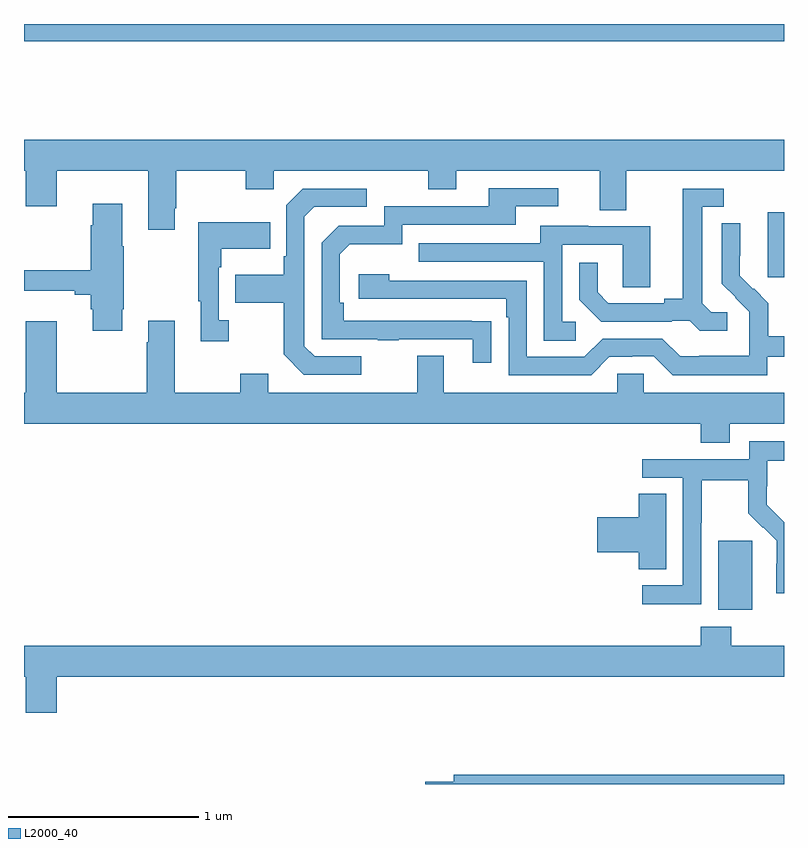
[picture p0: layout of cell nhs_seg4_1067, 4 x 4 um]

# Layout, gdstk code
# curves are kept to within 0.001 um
import gdstk
lib = gdstk.Library(unit=1e-6, precision=1e-09)
def R(c, l, rs):  # rectangles x0, y0, x1, y1
    for r in rs: c.add(gdstk.rectangle(r[:2], r[2:], *l))
def P(c, l, *ps):  # polygons
    for p in ps: c.add(gdstk.Polygon(p, *l))
L2000_40 = (2000, 40)

nhs_seg4_1067 = lib.new_cell('nhs_seg4_1067')
R(nhs_seg4_1067, L2000_40, [(168.653,819.818,168.832,820.179), (168.914,821.568,169,821.908), (165,822.808,169,822.9)])
P(nhs_seg4_1067, L2000_40, [(165.793,821.929),(165.801,821.929),(165.801,822.128),(166.168,822.128),(166.168,822.029),(166.314,822.029),(166.314,822.128),(167.128,822.128),(167.128,822.029),(167.275,822.029),(167.275,822.128),(168.029,822.128),(168.029,821.92),(168.169,821.92),(168.169,822.128),(169,822.128),(169,822.292),(165,822.292),(165,822.128),(165.008,822.128),(165.008,821.94),(165.172,821.94),(165.172,822.128),(165.653,822.128),(165.653,821.817),(165.793,821.817)],
  [(167.459,821.336),(166.682,821.337),(166.682,821.434),(166.662,821.434),(166.662,821.688),(166.715,821.741),(166.992,821.741),(166.992,821.844),(167.587,821.844),(167.587,821.94),(167.812,821.94),(167.812,822.036),(167.447,822.036),(167.447,821.94),(166.896,821.94),(166.896,821.838),(166.656,821.838),(166.566,821.748),(166.566,821.241),(166.861,821.241),(166.861,821.236),(166.973,821.236),(166.973,821.241),(167.363,821.241),(167.363,821.118),(167.459,821.118)],
  [(166.774,821.151),(166.53,821.151),(166.476,821.205),(166.476,821.886),(166.527,821.937),(166.804,821.937),(166.804,822.033),(166.467,822.033),(166.38,821.946),(166.38,821.677),(166.368,821.677),(166.368,821.581),(166.111,821.581),(166.111,821.434),(166.368,821.434),(166.368,821.161),(166.473,821.055),(166.774,821.055)],
  [(168.7,821.382),(168.618,821.382),(168.571,821.429),(168.571,821.937),(168.682,821.937),(168.682,822.033),(168.467,822.033),(168.467,821.453),(168.371,821.453),(168.371,821.43),(168.076,821.43),(168.019,821.487),(168.019,821.644),(167.922,821.644),(167.922,821.45),(168.038,821.334),(168.41,821.334),(168.41,821.337),(168.504,821.337),(168.556,821.285),(168.7,821.285)],
  [(165.517,821.398),(165.525,821.398),(165.525,821.729),(165.517,821.729),(165.517,821.953),(165.362,821.953),(165.362,821.84),(165.35,821.84),(165.35,821.605),(165,821.605),(165,821.495),(165.266,821.495),(165.266,821.476),(165.35,821.476),(165.35,821.399),(165.362,821.399),(165.362,821.286),(165.517,821.286)],
  [(166.078,821.342),(166.026,821.342),(166.026,821.621),(166.039,821.621),(166.039,821.717),(166.295,821.717),(166.295,821.857),(165.918,821.857),(165.918,821.441),(165.929,821.441),(165.929,821.229),(166.078,821.229)],
  [(168.912,821.148),(169,821.148),(169,821.257),(168.917,821.257),(168.917,821.431),(168.84,821.508),(168.837,821.505),(168.767,821.576),(168.767,821.68),(168.769,821.68),(168.769,821.852),(168.672,821.852),(168.672,821.534),(168.818,821.386),(168.818,821.289),(168.816,821.289),(168.816,821.155),(168.553,821.155),(168.553,821.151),(168.453,821.151),(168.36,821.244),(168.045,821.244),(167.949,821.148),(167.646,821.148),(167.646,821.55),(166.922,821.55),(166.922,821.584),(166.761,821.584),(166.761,821.454),(167.537,821.454),(167.537,821.357),(167.55,821.357),(167.55,821.052),(167.985,821.052),(168.081,821.148),(168.2,821.148),(168.2,821.151),(168.315,821.151),(168.415,821.051),(168.912,821.051)],
  [(167.905,821.334),(167.832,821.334),(167.832,821.739),(168.15,821.739),(168.15,821.515),(168.295,821.515),(168.295,821.835),(167.971,821.835),(167.971,821.839),(167.717,821.839),(167.717,821.745),(167.077,821.745),(167.077,821.649),(167.736,821.649),(167.736,821.233),(167.905,821.233)],
  [(168.715,820.796),(169,820.796),(169,820.96),(168.261,820.96),(168.261,821.058),(168.123,821.058),(168.123,820.96),(167.209,820.96),(167.209,821.155),(167.069,821.155),(167.069,820.96),(166.285,820.96),(166.285,821.059),(166.138,821.059),(166.138,820.96),(165.793,820.96),(165.793,821.338),(165.653,821.338),(165.653,821.225),(165.646,821.225),(165.646,820.96),(165.172,820.96),(165.172,821.335),(165.008,821.335),(165.008,820.96),(165,820.96),(165,820.796),(168.563,820.796),(168.563,820.697),(168.715,820.697)],
  [(168.564,820.276),(168.567,820.276),(168.567,820.5),(168.811,820.5),(168.811,820.325),(168.888,820.248),(168.891,820.251),(168.962,820.181),(168.962,820.058),(168.96,820.058),(168.96,819.904),(169,819.904),(169,820.278),(168.983,820.295),(168.984,820.296),(168.91,820.37),(168.91,820.467),(168.912,820.467),(168.912,820.601),(169,820.601),(169,820.705),(168.816,820.705),(168.816,820.608),(168.255,820.608),(168.255,820.512),(168.468,820.512),(168.468,819.945),(168.255,819.945),(168.255,819.847),(168.564,819.847)],
  [(168.379,820.427),(168.236,820.427),(168.236,820.304),(168.018,820.304),(168.018,820.121),(168.236,820.121),(168.236,820.03),(168.379,820.03)],
  [(165.172,819.464),(169,819.464),(169,819.628),(168.723,819.628),(168.723,819.727),(168.563,819.727),(168.563,819.628),(165,819.628),(165,819.464),(165.008,819.464),(165.008,819.276),(165.172,819.276)],
  [(169,818.948),(167.261,818.948),(167.261,818.912),(167.112,818.912),(167.112,818.9),(169,818.9)])

lib.write_gds('nhs_seg4_1067.gds')
